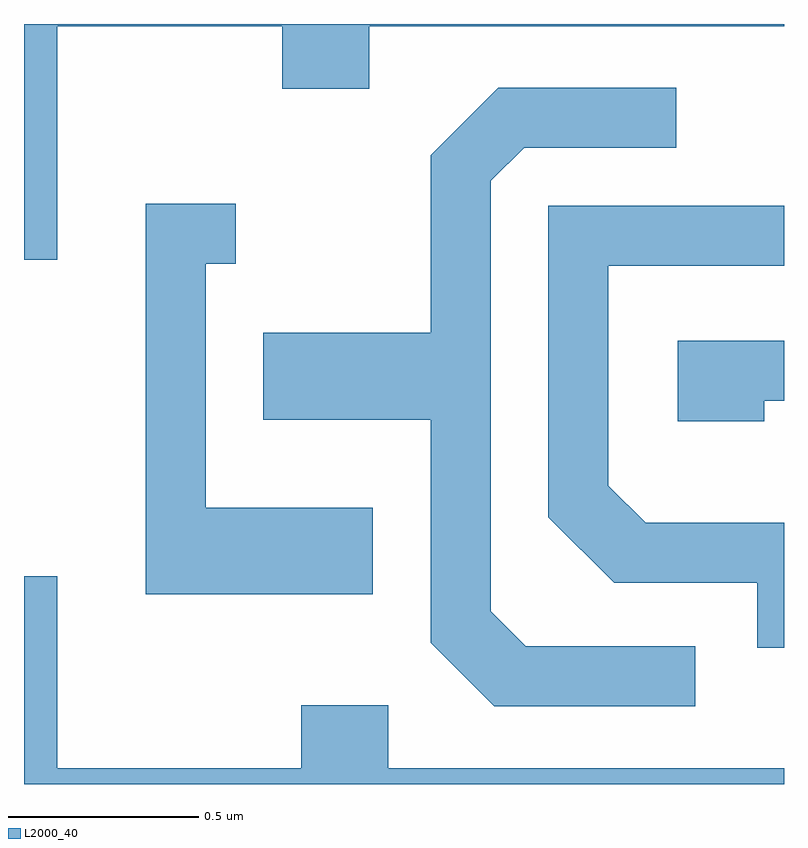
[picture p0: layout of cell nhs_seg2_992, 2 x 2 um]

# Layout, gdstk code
import gdstk
lib = gdstk.Library(unit=1e-6, precision=1e-09)
def P(c, l, *ps):  # polygons
    for p in ps: c.add(gdstk.Polygon(p, *l))
L2000_40 = (2000, 40)

nhs_seg2_992 = lib.new_cell('nhs_seg2_992')
P(nhs_seg2_992, L2000_40, [(192.699,1012.796),(193.291,1012.796),(193.291,1012.631),(193.519,1012.631),(193.519,1012.796),(194.611,1012.796),(194.611,1012.802),(192.611,1012.802),(192.611,1012.181),(192.699,1012.181)],
  [(194.378,1011.164),(193.932,1011.164),(193.839,1011.257),(193.839,1012.389),(193.927,1012.476),(194.328,1012.476),(194.328,1012.634),(193.859,1012.634),(193.681,1012.457),(193.681,1011.989),(193.241,1011.989),(193.241,1011.761),(193.681,1011.761),(193.681,1011.174),(193.849,1011.006),(194.378,1011.006)],
  [(193.529,1011.529),(193.089,1011.529),(193.089,1012.171),(193.168,1012.171),(193.168,1012.329),(192.931,1012.329),(192.931,1011.301),(193.529,1011.301)],
  [(194.611,1011.489),(194.247,1011.489),(194.149,1011.587),(194.149,1012.166),(194.611,1012.166),(194.611,1012.324),(193.991,1012.324),(193.991,1011.504),(194.164,1011.331),(194.541,1011.331),(194.541,1011.161),(194.611,1011.161)],
  [(194.559,1011.811),(194.611,1011.811),(194.611,1011.969),(194.331,1011.969),(194.331,1011.756),(194.559,1011.756)],
  [(194.611,1010.844),(193.569,1010.844),(193.569,1011.009),(193.341,1011.009),(193.341,1010.844),(192.699,1010.844),(192.699,1011.349),(192.611,1011.349),(192.611,1010.802),(194.611,1010.802)])

lib.write_gds('nhs_seg2_992.gds')
